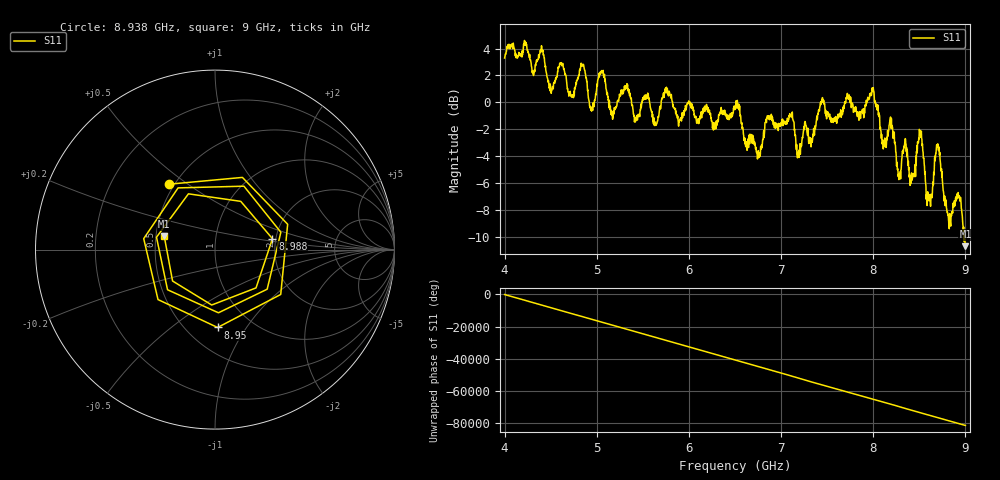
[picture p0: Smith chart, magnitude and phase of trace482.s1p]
! Created with skrf 1.8.0 (http://scikit-rf.org).
# Hz S RI R 50.0
!freq ReS11 ImS11
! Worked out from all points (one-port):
!   1601 points, 4 GHz to 9 GHz, reference 50 ohm
!   lowest |S11| = -10.7 dB at 9 GHz (marker M1), VSWR 1.82, Z = 27.7 + j4.45 ohm
!   |S11| at or under -10 dB: 8.983085 GHz to 8.98621 GHz (3.124 MHz wide, 0.0348 % of centre); 8.990189 GHz to end of sweep
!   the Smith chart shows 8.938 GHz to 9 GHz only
!   S11 on the Smith chart (normalised r, x): 8.938 GHz: 0.47, +0.43; 8.95 GHz: 0.70, -0.75; 8.988 GHz: 1.92, +0.26; 9 GHz: 0.55, +0.09
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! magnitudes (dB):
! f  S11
! 4 GHz  3.3
! 4.625 GHz  2.8
! 4.731 GHz  0.6
! 4.85 GHz  2.7
! 4.944 GHz  -0.7
! 5.047 GHz  2.3
! 5.162 GHz  -0.9
! 5.25 GHz  0.4
! 5.875 GHz  -1.2
! 6.5 GHz  -0.5
! 6.75 GHz  -4.0
! 6.859 GHz  -1.2
! 7.125 GHz  -1.2
! 7.197 GHz  -3.7
! 7.444 GHz  0.1
! 7.75 GHz  0.0
! 7.988 GHz  1.1
! 8.278 GHz  -5.7
! 8.375 GHz  -4.4
! 8.422 GHz  -5.8
! 8.516 GHz  -2.6
! 8.609 GHz  -7.3
! 8.697 GHz  -3.3
! 8.819 GHz  -8.9
! 8.938 GHz  -7.0
! 8.95 GHz  -7.2
! 8.988 GHz  -9.7
! 9 GHz  -10.7
